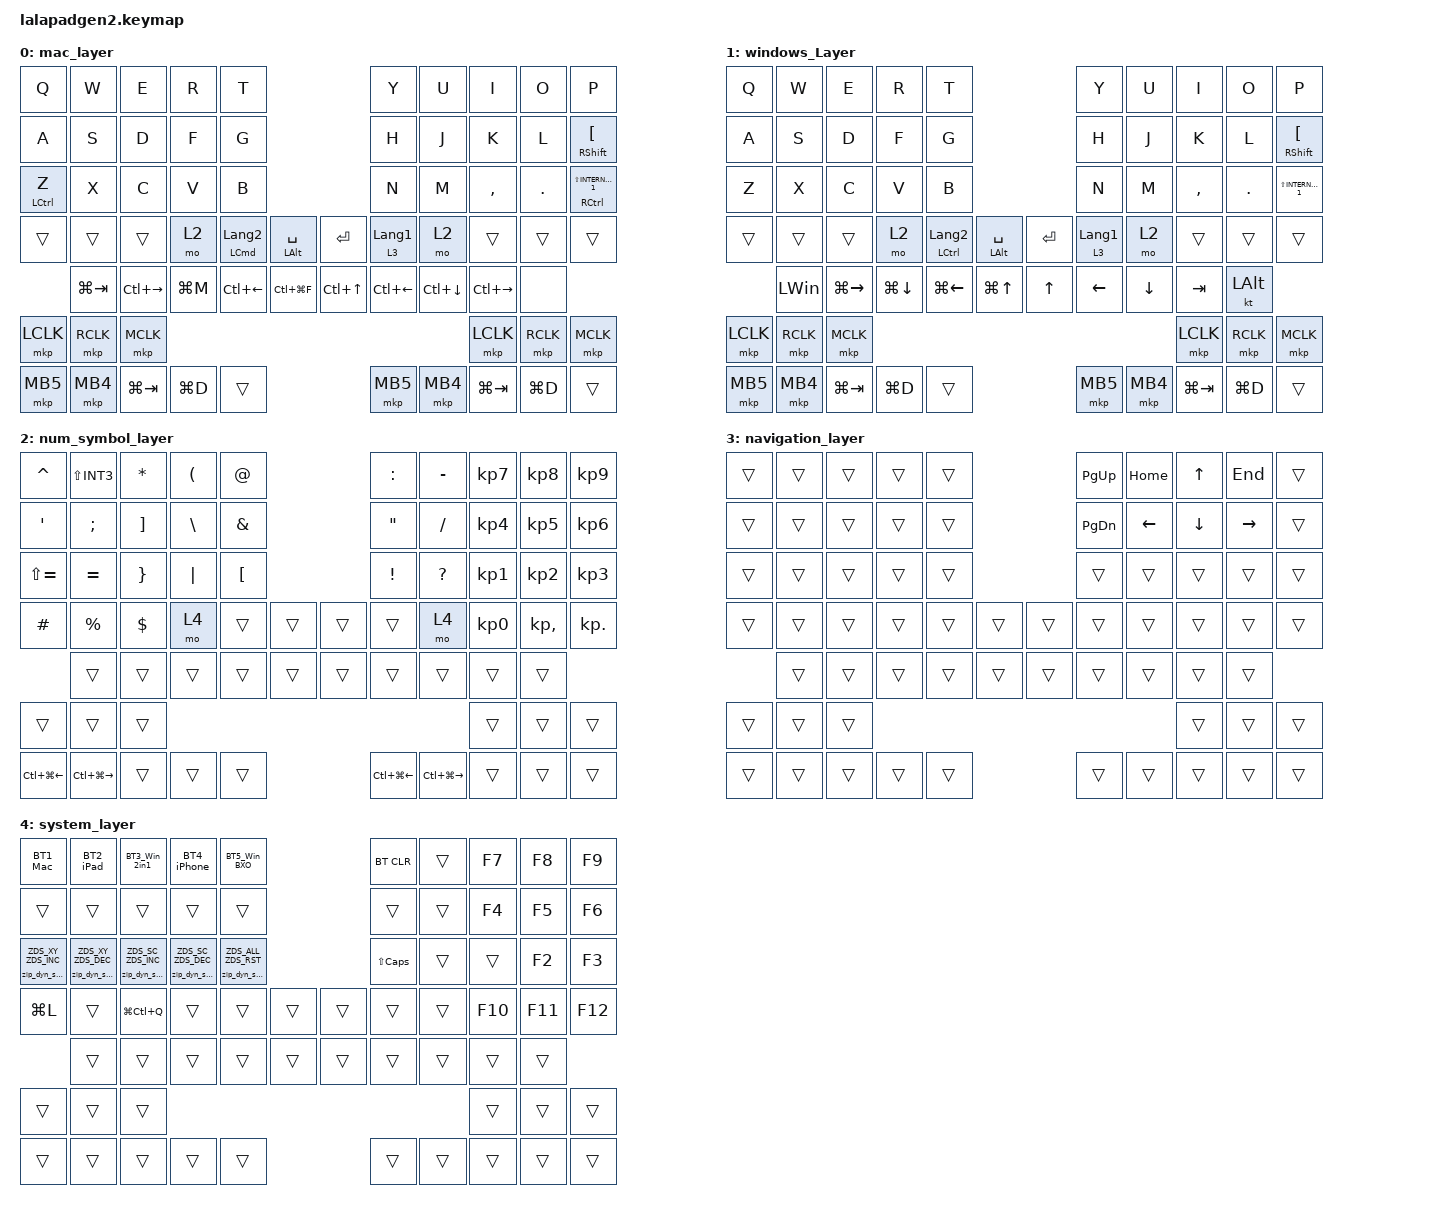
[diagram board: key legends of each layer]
#include <input/processors.dtsi>
#include <dt-bindings/zmk/zip_dynamic_scale.h>
#include <behaviors.dtsi>
#include <dt-bindings/zmk/bt.h>
#include <dt-bindings/zmk/keys.h>
#include <dt-bindings/zmk/pointing.h>

#define MAC_LAYER        0
#define WINDOWS_LAYER    1
#define NUM_SYMBOL_LAYER 2
#define NAVIGATION_LAYER 3
#define SYSTEM_LAYER     4

// 2 - 50 ( x0.2 - x5.0 ))

#define MAC_SC_SCALE   2   // 0.2x — これ以上下げられない
#define WIN_SC_SCALE   50  // 5.0x - default 1.0

// lalapadgen2.dtsiの SCROLL_SPEED と対応させる speed = xxx_SC_SCALE / SCROLL_SPEED

&mt { quick-tap-ms = <200>; };

&lt { quick-tap-ms = <200>; };

/ {
    behaviors {
        zip_dyn_scale: zip_dyn_scale {
            compatible = "zmk,behavior-zip-dynamic-scale";
            #binding-cells = <2>;
        };

        zip_dyn_scale_set: zip_dyn_scale_set {
            compatible = "zmk,behavior-zip-dynamic-scale-set";
            #binding-cells = <2>;
        };

        mt2: mod_tap2 {
            compatible = "zmk,behavior-hold-tap";
            #binding-cells = <2>;
            flavor = "tap-preferred";
            tapping-term-ms = <200>;
            quick-tap-ms = <200>;
            require-prior-idle-ms = <125>;
            bindings = <&kp>, <&kp>;
        };

        tap_dance_layer_1and2: tap_dance_layer_1and2 {
            compatible = "zmk,behavior-tap-dance";
            label = "td_mo12";
            #binding-cells = <0>;
            bindings = <&mo 2>, <&mo 3>;
        };

        mt3: balanced {
            compatible = "zmk,behavior-hold-tap";
            #binding-cells = <2>;
            flavor = "balanced";
            tapping-term-ms = <200>;
            quick-tap-ms = <200>;
            require-prior-idle-ms = <125>;
            bindings = <&kp>, <&kp>;

            label = "Mod/Tap3";
        };

        toggle_layer_on: toggle_layer_on {
            compatible = "zmk,behavior-toggle-layer";
            label = "TOGGLE_LAYER_ON";
            #binding-cells = <1>;
        };

        toggle_layer_off: toggle_layer_off {
            compatible = "zmk,behavior-toggle-layer";
            label = "TOGGLE_LAYER_OFF";
            #binding-cells = <1>;
            toggle-mode = "off";
        };
    };

    combos {
        compatible = "zmk,combos";

        CONBO_ESC {
            bindings = <&kp ESCAPE>;
            key-positions = <0 1>;
        };

        COMBO_TAB {
            bindings = <&mt3 LEFT_SHIFT TAB>;
            key-positions = <10 11>;
        };

        Yen {
            bindings = <&kp INT_YEN>;
            key-positions = <4 14>;
        };

        COMBO_BS {
            bindings = <&kp BACKSPACE>;
            key-positions = <8 9>;
        };

        COMBO_DEL {
            bindings = <&kp DELETE>;
            key-positions = <9 19>;
        };

        COMBO_SYSTEM_LAYER {
            bindings = <&mo 4>;
            key-positions = <33 38>;
        };
    };

    macros {
        BT1_Mac: BT1_Mac {
            compatible = "zmk,behavior-macro";
            #binding-cells = <0>;
            bindings =
                <&toggle_layer_off 0 &toggle_layer_off 1>,
                <&macro_wait_time 200>,
                <&bt BT_SEL 0>,
                <&macro_wait_time 500>,
                <&zip_dyn_scale_set ZDS_SC MAC_SC_SCALE &toggle_layer_on 0>;
        };

        BT2_iPad: BT2_iPad {
            compatible = "zmk,behavior-macro";
            #binding-cells = <0>;
            bindings =
                <&toggle_layer_off 0 &toggle_layer_off 1>,
                <&macro_wait_time 200>,
                <&bt BT_SEL 1>,
                <&macro_wait_time 500>,
                <&zip_dyn_scale_set ZDS_SC MAC_SC_SCALE &toggle_layer_on 0>;
        };

        BT3_Win_2in1: BT3_Win_2in1 {
            compatible = "zmk,behavior-macro";
            #binding-cells = <0>;
            bindings =
                <&toggle_layer_off 0 &toggle_layer_off 1>,
                <&macro_wait_time 200>,
                <&bt BT_SEL 2>,
                <&macro_wait_time 500>,
                <&zip_dyn_scale_set ZDS_SC WIN_SC_SCALE &toggle_layer_on 1>;
        };

        BT4_iPhone: BT4_iPhone {
            compatible = "zmk,behavior-macro";
            #binding-cells = <0>;
            bindings =
                <&toggle_layer_off 0 &toggle_layer_off 1>,
                <&macro_wait_time 200>,
                <&bt BT_SEL 3>,
                <&macro_wait_time 500>,
                <&zip_dyn_scale_set ZDS_SC MAC_SC_SCALE &toggle_layer_on 0>;
        };

        BT5_Win_BXO: BT5_Win_BXO {
            compatible = "zmk,behavior-macro";
            #binding-cells = <0>;
            bindings =
                <&toggle_layer_off 0 &toggle_layer_off 1>,
                <&macro_wait_time 200>,
                <&bt BT_SEL 4>,
                <&macro_wait_time 500>,
                <&zip_dyn_scale_set ZDS_SC WIN_SC_SCALE &toggle_layer_on 1>;
        };
    };

    keymap {
        compatible = "zmk,keymap";

        MAC_LAYER {
            display-name = "mac_layer";
            bindings = <
&kp Q                &kp W        &kp E          &kp R      &kp T                                                        &kp Y             &kp U         &kp I          &kp O       &kp P
&kp A                &kp S        &kp D          &kp F      &kp G                                                        &kp H             &kp J         &kp K          &kp L       &mt3 RIGHT_SHIFT LBKT
&mt3 LEFT_CONTROL Z  &kp X        &kp C          &kp V      &kp B                                                        &kp N             &kp M         &kp COMMA      &kp PERIOD  &mt3 RIGHT_CONTROL LS(INTERNATIONAL_1)
&trans               &trans       &trans         &mo 2      &mt LEFT_COMMAND LANGUAGE_2  &mt LEFT_ALT SPACE  &kp RETURN  &lt 3 LANGUAGE_1  &mo 2         &trans         &trans      &trans
                     &kp LG(TAB)  &kp LC(RIGHT)  &kp LG(M)  &kp LC(LEFT)                 &kp LC(LG(F))       &kp LC(UP)  &kp LC(LEFT)      &kp LC(DOWN)  &kp LC(RIGHT)  &none
&mkp LCLK            &mkp RCLK    &mkp MCLK                                                                                                              &mkp LCLK      &mkp RCLK   &mkp MCLK
&mkp MB5             &mkp MB4     &kp LG(TAB)    &kp LG(D)  &trans                                                       &mkp MB5          &mkp MB4      &kp LG(TAB)    &kp LG(D)   &trans
            >;
        };

        WINDOWS_LAYER {
            display-name = "windows_Layer";
            bindings = <
&kp Q      &kp W         &kp E          &kp R         &kp T                                                 &kp Y             &kp U     &kp I        &kp O         &kp P
&kp A      &kp S         &kp D          &kp F         &kp G                                                 &kp H             &kp J     &kp K        &kp L         &mt RSHIFT LBKT
&kp Z      &kp X         &kp C          &kp V         &kp B                                                 &kp N             &kp M     &kp COMMA    &kp PERIOD    &kp LS(INTERNATIONAL_1)
&trans     &trans        &trans         &mo 2         &mt LCTRL LANGUAGE_2  &mt LEFT_ALT SPACE  &kp RETURN  &lt 3 LANGUAGE_1  &mo 2     &trans       &trans        &trans
           &kp LEFT_WIN  &kp LG(RIGHT)  &kp LG(DOWN)  &kp LG(LEFT)          &kp LG(UP)          &kp UP      &kp LEFT          &kp DOWN  &kp TAB      &kt LEFT_ALT
&mkp LCLK  &mkp RCLK     &mkp MCLK                                                                                                      &mkp LCLK    &mkp RCLK     &mkp MCLK
&mkp MB5   &mkp MB4      &kp LG(TAB)    &kp LG(D)     &trans                                                &mkp MB5          &mkp MB4  &kp LG(TAB)  &kp LG(D)     &trans
            >;
        };

        NUM_SYMBOL_LAYER {
            display-name = "num_symbol_layer";
            bindings = <
&kp CARET         &kp LS(INT3)       &kp ASTERISK       &kp LEFT_PARENTHESIS  &kp AT_SIGN                    &kp COLON          &kp MINUS          &kp KP_NUMBER_7  &kp KP_NUMBER_8  &kp KP_NUMBER_9
&kp SQT           &kp SEMICOLON      &kp RIGHT_BRACKET  &kp BACKSLASH         &kp AMPERSAND                  &kp DOUBLE_QUOTES  &kp SLASH          &kp KP_NUMBER_4  &kp KP_NUMBER_5  &kp KP_NUMBER_6
&kp LS(EQUAL)     &kp EQUAL          &kp RIGHT_BRACE    &kp PIPE              &kp LBKT                       &kp EXCLAMATION    &kp QUESTION       &kp KP_NUMBER_1  &kp KP_NUMBER_2  &kp KP_NUMBER_3
&kp HASH          &kp PERCENT        &kp DOLLAR         &mo 4                 &trans         &trans  &trans  &trans             &mo 4              &kp KP_NUMBER_0  &kp KP_COMMA     &kp KP_DOT
                  &trans             &trans             &trans                &trans         &trans  &trans  &trans             &trans             &trans           &trans
&trans            &trans             &trans                                                                                                        &trans           &trans           &trans
&kp LC(LG(LEFT))  &kp LC(LG(RIGHT))  &trans             &trans                &trans                         &kp LC(LG(LEFT))   &kp LC(LG(RIGHT))  &trans           &trans           &trans
            >;
        };

        NAVIGATION_LAYER {
            display-name = "navigation_layer";
            bindings = <
&trans  &trans  &trans  &trans  &trans                  &kp PG_UP  &kp HOME  &kp UP    &kp END    &trans
&trans  &trans  &trans  &trans  &trans                  &kp PG_DN  &kp LEFT  &kp DOWN  &kp RIGHT  &trans
&trans  &trans  &trans  &trans  &trans                  &trans     &trans    &trans    &trans     &trans
&trans  &trans  &trans  &trans  &trans  &trans  &trans  &trans     &trans    &trans    &trans     &trans
        &trans  &trans  &trans  &trans  &trans  &trans  &trans     &trans    &trans    &trans
&trans  &trans  &trans                                                       &trans    &trans     &trans
&trans  &trans  &trans  &trans  &trans                  &trans     &trans    &trans    &trans     &trans
            >;
        };

        SYSTEM_LAYER {
            display-name = "system_layer";
            bindings = <
&BT1_Mac                       &BT2_iPad                      &BT3_Win_2in1                  &BT4_iPhone                    &BT5_Win_BXO                                    &bt BT_CLR        &trans  &kp F7   &kp F8   &kp F9
&trans                         &trans                         &trans                         &trans                         &trans                                          &trans            &trans  &kp F4   &kp F5   &kp F6
&zip_dyn_scale ZDS_XY ZDS_INC  &zip_dyn_scale ZDS_XY ZDS_DEC  &zip_dyn_scale ZDS_SC ZDS_INC  &zip_dyn_scale ZDS_SC ZDS_DEC  &zip_dyn_scale ZDS_ALL ZDS_RST                  &kp LS(CAPSLOCK)  &trans  &trans   &kp F2   &kp F3
&kp LG(L)                      &trans                         &kp LG(LC(Q))                  &trans                         &trans                          &trans  &trans  &trans            &trans  &kp F10  &kp F11  &kp F12
                               &trans                         &trans                         &trans                         &trans                          &trans  &trans  &trans            &trans  &trans   &trans
&trans                         &trans                         &trans                                                                                                                                  &trans   &trans   &trans
&trans                         &trans                         &trans                         &trans                         &trans                                          &trans            &trans  &trans   &trans   &trans
            >;
        };
    };

    conditional_layers { compatible = "zmk,conditional-layers"; };
};
